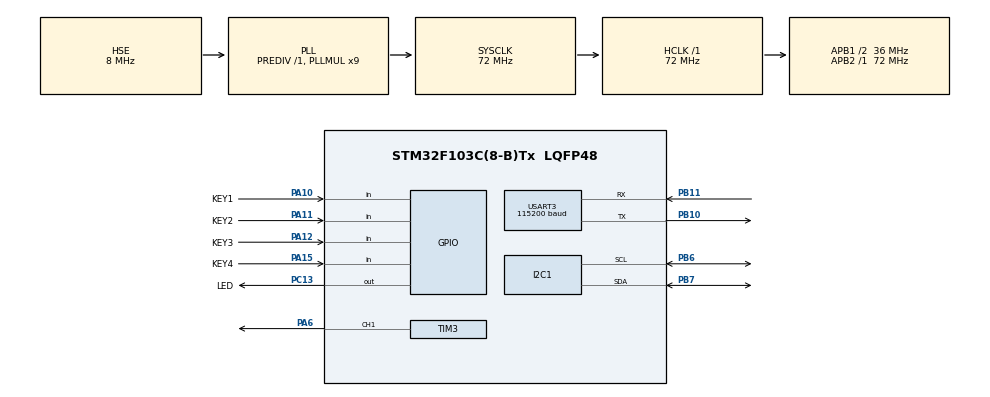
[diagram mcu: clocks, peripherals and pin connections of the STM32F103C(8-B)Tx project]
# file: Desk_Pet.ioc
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Dma.Request0=USART3_TX
Dma.Request1=USART3_RX
Dma.USART3_RX.1.Direction=DMA_PERIPH_TO_MEMORY
Dma.USART3_RX.1.Instance=DMA1_Channel3
Dma.USART3_RX.1.MemDataAlignment=DMA_MDATAALIGN_BYTE
Dma.USART3_RX.1.MemInc=DMA_MINC_ENABLE
Dma.USART3_RX.1.Mode=DMA_NORMAL
Dma.USART3_RX.1.PeriphDataAlignment=DMA_PDATAALIGN_BYTE
Dma.USART3_RX.1.PeriphInc=DMA_PINC_DISABLE
Dma.USART3_RX.1.Priority=DMA_PRIORITY_LOW
Dma.USART3_TX.0.Direction=DMA_MEMORY_TO_PERIPH
Dma.USART3_TX.0.Instance=DMA1_Channel2
Dma.USART3_TX.0.MemDataAlignment=DMA_MDATAALIGN_BYTE
Dma.USART3_TX.0.MemInc=DMA_MINC_ENABLE
Dma.USART3_TX.0.Mode=DMA_NORMAL
Dma.USART3_TX.0.PeriphDataAlignment=DMA_PDATAALIGN_BYTE
Dma.USART3_TX.0.PeriphInc=DMA_PINC_DISABLE
Dma.USART3_TX.0.Priority=DMA_PRIORITY_LOW
Mcu.Family=STM32F1
Mcu.Name=STM32F103C(8-B)Tx
Mcu.Package=LQFP48
NVIC.DMA1_Channel2_IRQn=true\:0\:0\:false\:false\:true\:false\:true\:true
NVIC.DMA1_Channel3_IRQn=true\:0\:0\:false\:false\:true\:false\:true\:true
NVIC.PriorityGroup=NVIC_PRIORITYGROUP_4
NVIC.TIM2_IRQn=true\:0\:0\:true\:false\:true\:true\:true\:true
NVIC.TIM3_IRQn=true\:0\:0\:false\:false\:true\:true\:true\:true
NVIC.USART3_IRQn=true\:0\:0\:false\:false\:true\:true\:true\:true
PA10.GPIO_Label=KEY1
PA10.GPIO_PuPd=GPIO_PULLUP
PA10.Signal=GPIO_Input
PA11.GPIO_Label=KEY2
PA11.GPIO_PuPd=GPIO_PULLUP
PA11.Signal=GPIO_Input
PA12.GPIO_Label=KEY3
PA12.GPIO_PuPd=GPIO_PULLUP
PA12.Signal=GPIO_Input
PA13.Mode=Serial_Wire
PA13.Signal=SYS_JTMS-SWDIO
PA14.Mode=Serial_Wire
PA14.Signal=SYS_JTCK-SWCLK
PA15.GPIO_Label=KEY4
PA15.GPIO_PuPd=GPIO_PULLUP
PA15.Signal=GPIO_Input
PA6.Signal=S_TIM3_CH1
PB10.Mode=Asynchronous
PB10.Signal=USART3_TX
PB11.Mode=Asynchronous
PB11.Signal=USART3_RX
PB6.Mode=I2C
PB6.Signal=I2C1_SCL
PB7.Mode=I2C
PB7.Signal=I2C1_SDA
PC13-TAMPER-RTC.GPIO_Label=LED
PC13-TAMPER-RTC.PinState=GPIO_PIN_SET
PC13-TAMPER-RTC.Signal=GPIO_Output
PD0-OSC_IN.Mode=HSE-External-Oscillator
PD0-OSC_IN.Signal=RCC_OSC_IN
PD1-OSC_OUT.Mode=HSE-External-Oscillator
PD1-OSC_OUT.Signal=RCC_OSC_OUT
ProjectManager.HeapSize=0x200
ProjectManager.StackSize=0x400
ProjectManager.TargetToolchain=STM32CubeIDE
RCC.AHBFreq_Value=72000000
RCC.APB1CLKDivider=RCC_HCLK_DIV2
RCC.APB1Freq_Value=36000000
RCC.APB1TimFreq_Value=72000000
RCC.APB2Freq_Value=72000000
RCC.APB2TimFreq_Value=72000000
RCC.HCLKFreq_Value=72000000
RCC.PLLMUL=RCC_PLL_MUL9
RCC.PLLSourceVirtual=RCC_PLLSOURCE_HSE
RCC.SYSCLKFreq_VALUE=72000000
RCC.SYSCLKSource=RCC_SYSCLKSOURCE_PLLCLK
RCC.USBFreq_Value=72000000
SH.S_TIM3_CH1.0=TIM3_CH1,PWM Generation1 CH1
TIM2.Period=10000-1
TIM2.Prescaler=7200-1
TIM3.Channel-PWM\ Generation1\ CH1=TIM_CHANNEL_1
TIM3.Prescaler=72-1
USART3.BaudRate=115200
USART3.VirtualMode=VM_ASYNC
VP_TIM2_VS_ClockSourceINT.Mode=Internal
VP_TIM3_VS_ClockSourceINT.Mode=Internal
board=custom

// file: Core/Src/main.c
/* USER CODE BEGIN Header */
/**
  ******************************************************************************
  * @file           : main.c
  * @brief          : Main program body
  ******************************************************************************
  * @attention
  *
  * Copyright (c) 2026 STMicroelectronics.
  * All rights reserved.
  *
  * This software is licensed under terms that can be found in the LICENSE file
  * in the root directory of this software component.
  * If no LICENSE file comes with this software, it is provided AS-IS.
  *
  ******************************************************************************
  */
/* USER CODE END Header */
#include "main.h"
#include "dma.h"
#include "i2c.h"
#include "tim.h"
#include "usart.h"
#include "gpio.h"

/* USER CODE BEGIN PD */
#define TEST 1
/* USER CODE END PD */

/* USER CODE BEGIN PV */
PetState now = {100, 0, 0, 0, 0};
PetState history[60]={0};

Time_Mode normal=NORMAL;
Time_Mode fast=FAST;

static uint8_t key_state=0;
static uint8_t time_state=0;
static volatile uint8_t timer=0;
volatile uint8_t timer_save=0;

static uint8_t rx_data[5]={0};
static uint8_t ble_data[2]={0};

volatile uint8_t ble_flag=0;
volatile uint8_t write_index=0;
volatile uint8_t full_flag=0;
volatile uint8_t tx_flag=0;

uint32_t aht20_last_time = 0;
uint32_t oled_last_time = 0;
/* USER CODE END PV */

void SystemClock_Config(void);

/* USER CODE BEGIN 0 */
void HAL_TIM_PeriodElapsedCallback(TIM_HandleTypeDef *htim){
	if(htim==&htim2){
		timer_save++;

		history[write_index].happy=now.happy;
		history[write_index].hungry=now.hungry;
		history[write_index].tired=now.tired;
		history[write_index].humidity=now.humidity;
		history[write_index].temperature=now.temperature;

		write_index=(write_index+1)%60;

		if(time_state==0){
			timer++;
			if(timer==30){
			now.happy -= 1;
			Limit(&now.happy);  // 防止变成255
			now.hungry += 1;
			Limit(&now.hungry);
			now.tired += 1;
			Limit(&now.tired);
			timer=0;
			}
		}else{
			now.happy-=1;
			Limit(&now.happy);
			now.hungry+=1;
			Limit(&now.hungry);
			now.tired+=1;
			Limit(&now.tired);
		}

		if(timer_save==60){
			full_flag=1;
			tx_flag=1;
		}

	}
}

void HAL_UART_RxCpltCallback(UART_HandleTypeDef *huart){
	if(huart==&huart3){
		if(ble_data[0] >= '1' && ble_data[0] <= '5'){
				    ble_flag = ble_data[0];
		}

		HAL_UART_Receive_IT(&huart3, ble_data, 1);
	}
}
/* USER CODE END 0 */

int main(void)
{

  /* MCU Configuration--------------------------------------------------------*/

  /* Reset of all peripherals, Initializes the Flash interface and the Systick. */
  HAL_Init();

  /* Configure the system clock */
  SystemClock_Config();

  /* Initialize all configured peripherals */
  MX_GPIO_Init();
  MX_DMA_Init();
  MX_I2C1_Init();
  MX_USART3_UART_Init();
  MX_TIM2_Init();
  MX_TIM3_Init();
  /* USER CODE BEGIN 2 */
  Project_Init();
  /* USER CODE END 2 */

  /* Infinite loop */
  /* USER CODE BEGIN WHILE */
  while (1)
  {
	  uint32_t current_time = HAL_GetTick();

	  if(current_time - oled_last_time >= 50) {
		  OLED_Mode();
		  oled_last_time = current_time;
	  }

	  if(current_time - aht20_last_time >= 500) {
		  AHT20_Read(&now.temperature, &now.humidity);
		  aht20_last_time = current_time;
	  }

	  key_state = KEY_Scan();
	  switch(key_state){
		  case 1:
			  Mode(&time_state, normal);
			  break;
		  case 2:
			  Mode(&time_state, fast);
			  break;
		  case 3:
			  Data_curve();
			  break;
	  }

    /* USER CODE END WHILE */

  }
}

void SystemClock_Config(void)
{
  RCC_OscInitTypeDef RCC_OscInitStruct = {0};
  RCC_ClkInitTypeDef RCC_ClkInitStruct = {0};

  /** Initializes the RCC Oscillators according to the specified parameters
  * in the RCC_OscInitTypeDef structure.
  */
  RCC_OscInitStruct.OscillatorType = RCC_OSCILLATORTYPE_HSE;
  RCC_OscInitStruct.HSEState = RCC_HSE_ON;
  RCC_OscInitStruct.HSEPredivValue = RCC_HSE_PREDIV_DIV1;
  RCC_OscInitStruct.HSIState = RCC_HSI_ON;
  RCC_OscInitStruct.PLL.PLLState = RCC_PLL_ON;
  RCC_OscInitStruct.PLL.PLLSource = RCC_PLLSOURCE_HSE;
  RCC_OscInitStruct.PLL.PLLMUL = RCC_PLL_MUL9;
  if (HAL_RCC_OscConfig(&RCC_OscInitStruct) != HAL_OK)
  {
    Error_Handler();
  }

  /** Initializes the CPU, AHB and APB buses clocks
  */
  RCC_ClkInitStruct.ClockType = RCC_CLOCKTYPE_HCLK|RCC_CLOCKTYPE_SYSCLK
                              |RCC_CLOCKTYPE_PCLK1|RCC_CLOCKTYPE_PCLK2;
  RCC_ClkInitStruct.SYSCLKSource = RCC_SYSCLKSOURCE_PLLCLK;
  RCC_ClkInitStruct.AHBCLKDivider = RCC_SYSCLK_DIV1;
  RCC_ClkInitStruct.APB1CLKDivider = RCC_HCLK_DIV2;
  RCC_ClkInitStruct.APB2CLKDivider = RCC_HCLK_DIV1;

  if (HAL_RCC_ClockConfig(&RCC_ClkInitStruct, FLASH_LATENCY_2) != HAL_OK)
  {
    Error_Handler();
  }
}

/* USER CODE BEGIN 4 */

void Mode(uint8_t *state,Time_Mode mode){
	  __HAL_TIM_SET_AUTORELOAD(&htim3,3000);
	  __HAL_TIM_SET_COMPARE(&htim3,TIM_CHANNEL_1,3000/5);
	  HAL_Delay(100);
	  __HAL_TIM_SET_COMPARE(&htim3,TIM_CHANNEL_1,0);
	  HAL_TIM_Base_Start_IT(&htim2);
	  *state=mode;
	  function();
}

void Project_Init()
{
	  HAL_Delay(20);
	  OLED_Init();
	  AHT20_Init();
	  HAL_TIM_PWM_Start(&htim3, TIM_CHANNEL_1);
	  HAL_UART_Receive_IT(&huart3, ble_data, 1);
	  if(!IsFirstBoot()){
		  EEPROM_ReadBuffer(&hi2c1,ADDRESS_Write,ADDRESS_Start,rx_data,3);
		  now.happy=rx_data[0];
		  now.hungry=rx_data[1];
		  now.tired=rx_data[2];
	  }
}
/* USER CODE END 4 */

void Error_Handler(void)
{
  __disable_irq();
  while (1)
  {
  }
}
